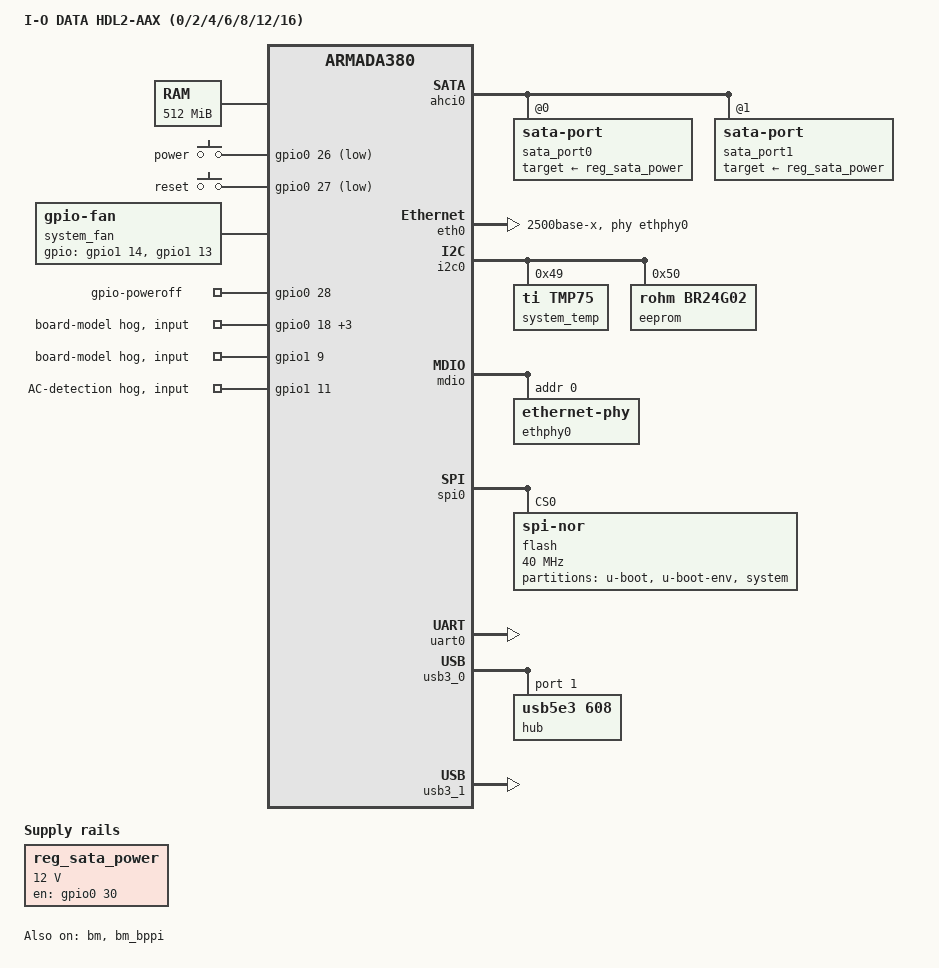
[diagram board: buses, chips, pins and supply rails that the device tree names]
// SPDX-License-Identifier: (GPL-2.0-only OR MIT)
/*
 * Device Tree file for ipTIME NAS1dual
 *
 * Copyright (C) 2020 Sungbo Eo <mans0n@gorani.run>
 *
 * Based on armada-385-linksys.dtsi
 * Copyright (C) 2015 Imre Kaloz <kaloz@openwrt.org>
 */

/dts-v1/;

#include "armada-385.dtsi"

#include <dt-bindings/gpio/gpio.h>
#include <dt-bindings/input/input.h>
#include <dt-bindings/thermal/thermal.h>

/ {
	model = "I-O DATA HDL2-AAX (0/2/4/6/8/12/16)";
	compatible = "iodata,hdl2-aax", "marvell,armada382", "marvell,armada380";

/*	aliases {
		led-boot = &led_ready;
		led-failsafe = &led_ready;
		led-running = &led_ready;
		led-upgrade = &led_ready;
		label-mac-device = &eth0;
	};*/

	chosen {
		bootargs = "console=ttyS0,115200n8";
		stdout-path = "serial0:115200n8";
	};

	memory@0 {
		device_type = "memory";
		reg = <0x00000000 0x20000000>; /* 512MB */
	};

	soc {
		ranges = <MBUS_ID(0xf0, 0x01) 0 0xf1000000 0x100000
		          MBUS_ID(0x01, 0x1d) 0 0xfff00000 0x100000
		          MBUS_ID(0x09, 0x19) 0 0xf1100000 0x10000
		          MBUS_ID(0x09, 0x15) 0 0xf1110000 0x10000
		          MBUS_ID(0x0c, 0x04) 0 0xf1200000 0x100000
		          MBUS_ID(0x0b, 0x04) 0 0xf1300000 0x100000>;
	};

	gpio-keys {
		compatible = "gpio-keys";
		pinctrl-names = "default";
		pinctrl-0 = <&gpio_keys_pins>;

		power {
			label = "power";
			linux,input-type = <EV_SW>;
			linux,code = <KEY_POWER>;
			gpios = <&gpio0 26 GPIO_ACTIVE_LOW>;
		};

		reset {
			label = "reset";
			linux,code = <KEY_RESTART>;
			gpios = <&gpio0 27 GPIO_ACTIVE_LOW>;
		};
	};

/*	gpio-leds {
		compatible = "gpio-leds";
		pinctrl-names = "default";
		pinctrl-0 = <&gpio_leds_pins>;

		led_ready: ready {
			label = "blue:ready";
			gpios = <&gpio0 18 GPIO_ACTIVE_LOW>;
		};

		hdd {
			label = "blue:hdd";
			gpios = <&gpio0 20 GPIO_ACTIVE_LOW>;
			linux,default-trigger = "disk-activity";
		};

		usb {
			label = "blue:usb";
			gpios = <&gpio1 19 GPIO_ACTIVE_HIGH>;
			trigger-sources = <&usb3_0_port1 &usb3_0_port2>;
			linux,default-trigger = "usbport";
		};
	};*/

	system_fan: gpio-fan {
		compatible = "gpio-fan";
		pinctrl-names = "default";
		pinctrl-0 = <&gpio_fan_pins>;
		gpios = <&gpio1 14 GPIO_ACTIVE_HIGH>,
		        <&gpio1 13 GPIO_ACTIVE_HIGH>;
		/* We don't know the exact rpm, just use dummy values here. */
		gpio-fan,speed-map = <0 0>, <1 1>, <2 2>;
		#cooling-cells = <2>;
	};

	gpio-poweroff {
		compatible = "gpio-poweroff";
		pinctrl-names = "default";
		pinctrl-0 = <&system_power_pins>;
		gpios = <&gpio0 28 GPIO_ACTIVE_HIGH>;
		active-delay-ms = <1000>;
	};

	regulators {
		compatible = "simple-bus";
		#address-cells = <1>;
		#size-cells = <0>;
		pinctrl-names = "default";
		pinctrl-0 = <&sata_power_pins>;

		reg_sata_power: regulator@1 {
			compatible = "regulator-fixed";
			reg = <1>;
			regulator-name = "sata-power";
			regulator-min-microvolt = <12000000>;
			regulator-max-microvolt = <12000000>;
			enable-gpios = <&gpio0 30 GPIO_ACTIVE_HIGH>;
			regulator-always-on;
			enable-active-high;
		};
	};

	thermal-zones {
		sata0-thermal {
			polling-delay = <2000>;
			polling-delay-passive = <2000>;

			thermal-sensors = <&sata_port0>;

			trips {
				sata0_alart1: trip1 {
					temperature = <36000>;
					hysteresis = <2000>;
					type = "active";
				};

				sata0_alart2: trip2 {
					temperature = <50000>;
					hysteresis = <2000>;
					type = "passive";
				};

				trip3 {
					temperature = <60000>;
					hysteresis = <2000>;
					type = "critical";
				};
			};

			cooling-maps {
				map1 {
					trip = <&sata0_alart1>;
					cooling-device = <&system_fan THERMAL_NO_LIMIT 1>;
				};

				map2 {
					trip = <&sata0_alart2>;
					cooling-device = <&system_fan 2 THERMAL_NO_LIMIT>;
				};
			};
		};

		sata1-thermal {
			polling-delay = <2000>;
			polling-delay-passive = <2000>;

			thermal-sensors = <&sata_port1>;

			trips {
				sata1_alart1: trip1 {
					temperature = <36000>;
					hysteresis = <2000>;
					type = "active";
				};

				sata1_alart2: trip2 {
					temperature = <50000>;
					hysteresis = <2000>;
					type = "passive";
				};

				trip3 {
					temperature = <60000>;
					hysteresis = <2000>;
					type = "critical";
				};
			};

			cooling-maps {
				map1 {
					trip = <&sata1_alart1>;
					cooling-device = <&system_fan THERMAL_NO_LIMIT 1>;
				};

				map2 {
					trip = <&sata1_alart2>;
					cooling-device = <&system_fan 2 THERMAL_NO_LIMIT>;
				};
			};
		};

		system-thermal {
			polling-delay = <2000>;
			polling-delay-passive = <2000>;

			thermal-sensors = <&system_temp>;

			trips {
				system_alart1: trip1 {
					temperature = <40000>;
					hysteresis = <2000>;
					type = "active";
				};

				system_alart2: trip2 {
					temperature = <52000>;
					hysteresis = <2000>;
					type = "passive";
				};

				trip3 {
					temperature = <60000>;
					hysteresis = <2000>;
					type = "critical";
				};
			};

			cooling-maps {
				map1 {
					trip = <&system_alart1>;
					cooling-device = <&system_fan THERMAL_NO_LIMIT 1>;
				};

				map2 {
					trip = <&system_alart2>;
					cooling-device = <&system_fan 2 THERMAL_NO_LIMIT>;
				};
			};
		};
	};
};

&ahci0 {
	status = "okay";
	nr-ports = <2>;
	#address-cells = <1>;
	#size-cells = <0>;

	sata_port0: sata-port@0 {
		reg = <0>;
		target-supply = <&reg_sata_power>;
		#thermal-sensor-cells = <0>;
	};

	sata_port1: sata-port@1 {
		reg = <1>;
		target-supply = <&reg_sata_power>;
		#thermal-sensor-cells = <0>;
	};
};

&bm {
	status = "okay";
};

&bm_bppi {
	status = "okay";
};

&eth0 {
	pinctrl-names = "default";
	pinctrl-0 = <&ge0_rgmii_pins>;
	status = "okay";
	phy-handle = <&ethphy0>;
	phy-connection-type = "2500base-x";
	buffer-manager = <&bm>;
	bm,pool-long = <0>;
	bm,pool-short = <1>;
};

&gpio0 {
	board-model {
		pinctrl-names = "default";
		pinctrl-0 = <&board_detection_pins>;

		gpio-hog;
		gpios = <18 GPIO_ACTIVE_HIGH>, <19 GPIO_ACTIVE_HIGH>,
			<20 GPIO_ACTIVE_HIGH>, <21 GPIO_ACTIVE_HIGH>;
		input;
		line-name = "board-model";
	};
};

&gpio1 {
	board-model {
		gpio-hog;
		gpios = <9 GPIO_ACTIVE_HIGH>;
		input;
		line-name = "board-model";
	};

	ac-detection {
		gpio-hog;
		gpios = <11 GPIO_ACTIVE_HIGH>;
		input;
		line-name = "AC-detection";
	};
};

&i2c0 {
	pinctrl-names = "default";
	pinctrl-0 = <&i2c0_pins>;
	status = "okay";
	#address-cells = <1>;
	#size-cells = <0>;

	system_temp: sensor@49 {
		compatible = "ti,tmp75";
		reg = <0x49>;
		#thermal-sensor-cells = <0>;
	};

	eeprom@50 {
		compatible = "rohm,br24g02", "atmel,24c02";
		reg = <0x50>;
		#address-cells = <1>;
		#size-cells = <1>;

		uptime@4 {
			reg = <0x4 0x4>;
		};

		fan-using-time@8 {
			reg = <0x8 0x4>;
		};

		power-time@c {
			reg = <0xc 0x4>;
		};

		power-cycle-count@10 {
			reg = <0x10 0x4>;
		};

		fan-fail-count@14 {
			reg = <0x14 0x4>;
		};

		temp-fail-count@18 {
			reg = <0x18 0x4>;
		};

		no-warranty@1c {
			reg = <0x1c 0x1>;
		};

		boot-on-ac@1d {
			reg = <0x1d 0x1>;
		};

		wol-enable@1e {
			reg = <0x1e 0x1>;
		};

		boot-beep@1f {
			reg = <0x1f 0x1>;
		};

		led-brightness@20 {
			reg = <0x20 0x1>;
		};
	};
};

&mdio {
	pinctrl-names = "default";
	pinctrl-0 = <&mdio_pins>;

	ethphy0: ethernet-phy@0 {
		reg = <0>;
		max-speed = <2500>;
	};
};

&pinctrl {
	gpio_keys_pins: gpio-keys-pins {
		marvell,pins = "mpp26", "mpp27";
		marvell,function = "gpio";
	};

	gpio_leds_pins: gpio-leds-pins {
		marvell,pins = "mpp29", "mpp31", "mpp32", "mpp33", "mpp34",
			       "mpp35", "mpp47";
		marvell,function = "gpio";
	};

	gpio_fan_pins: gpio-fan-pins {
		/*
		 * 42: rotation detection
		 * 45: Speed High
		 * 46: Speed Low
		 */
		marvell,pins = "mpp42", "mpp45", "mpp46";
		marvell,function = "gpio";
	};

	sata_power_pins: sata-power-pins {
		marvell,pins = "mpp30";
		marvell,function = "gpio";
	};

	system_power_pins: system-power-pins {
		marvell,pins = "mpp28";
		marvell,function = "gpio";
	};

	ac_detection_pins: ac-detection-pins {
		marvell,pins = "mpp43";
		marvell,function = "gpio";
	};

	board_detection_pins: board-detection-pins {
		/*
		 * Bit:  4   3   2   1   0
		 * Pin: 41  21  20  19  18
		 *
		 * Models:
		 *   0: HDL-AA
		 *   1: HDL2-AA
		 *   2: ?
		 *   3: HDL2-AAX
		 */
		marvell,pins = "mpp18", "mpp19", "mpp20", "mpp21", "mpp41";
		marvell,function = "gpio";
	};
};

&spi0 {
	pinctrl-names = "default";
	pinctrl-0 = <&spi0_pins>;
	status = "okay";

	flash@0 {
		compatible = "jedec,spi-nor";
		reg = <0>;
		spi-max-frequency = <40000000>;

		partitions {
			compatible = "fixed-partitions";
			#address-cells = <1>;
			#size-cells = <1>;

			partition@0 {
				reg = <0x00000000 0x00100000>;
				label = "u-boot";
				read-only;
			};

			partition@f0000 {
				reg = <0x000f0000 0x00010000>;
				label = "u-boot-env";
				read-only;
			};

			partition@100000 {
				reg = <0x00100000 0x00f00000>;
				label = "system";
				read-only;
			};
		};
	};
};

&uart0 {
	pinctrl-names = "default";
	pinctrl-0 = <&uart0_pins>;
	status = "okay";
};

&usb3_0 {
	status = "okay";
	#address-cells = <1>;
	#size-cells = <0>;

	hub@1 {
		compatible = "usb5e3,608";
		reg = <1>;

		port@1 {
			reg = <1>;
		};

		port@2 {
			reg = <2>;
		};
	};
};

&usb3_1 {
	status = "okay";
	#address-cells = <1>;
	#size-cells = <0>;

	port@1 {
		reg = <1>;
	};
};
